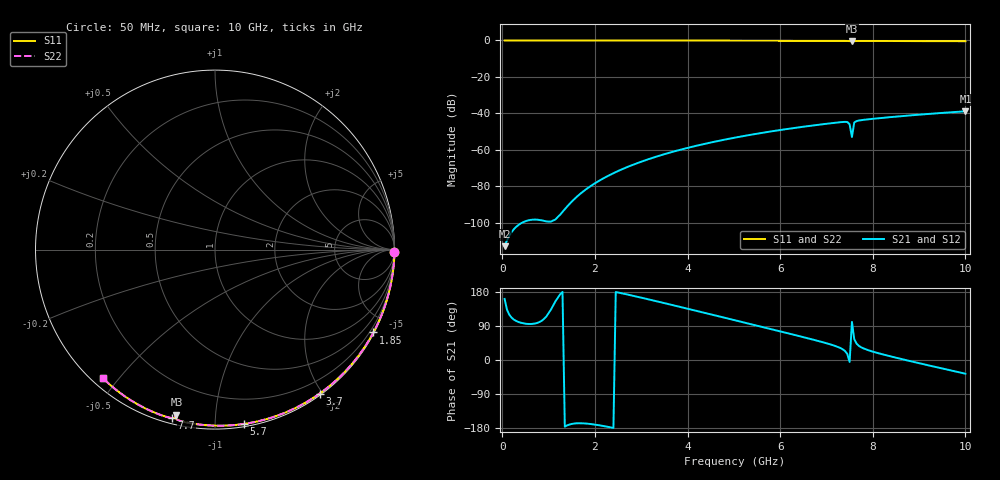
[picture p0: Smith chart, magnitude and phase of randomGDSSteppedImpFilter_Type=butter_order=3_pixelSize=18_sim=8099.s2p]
! freq	dB(S11)	phase(S11)	dB(S12)	phase(S12)
!  dB(S21)	phase(S21)	dB(S22)	phase(S22)
!S-par simulation data
#  GHz  S  DB  R 50
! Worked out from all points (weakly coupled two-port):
!   200 points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, 50 MHz to 10 GHz, reference 50 ohm
!   highest |S21| = -38.81 dB at 10 GHz (marker M1); lowest = -112.7 dB at 50 MHz (marker M2)
!   lowest |S11| = -0.5 dB at 7.55 GHz (marker M3), VSWR 34.45, Z = 2.36 - j39.6 ohm
!   |S11| at or under -10 dB: nowhere
!   |S22| runs from -0.5 to 0.0 dB; largest |S21 - S12| = 0
!   S11 on the Smith chart (normalised r, x): 50 MHz: open; 1.85 GHz: 0.04, -4.07; 3.7 GHz: 0.02, -1.96; 5.7 GHz: 0.02, -1.18; 7.7 GHz: 0.02, -0.78; 10 GHz: 0.03, -0.45
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0.05  -0.00 -0.8  -112.72 161.1  -112.72 161.1  -0.00 -0.8
0.9  -0.02 -13.6  -98.87 108.5  -98.87 108.5  -0.02 -13.6
1.75  -0.03 -26.2  -82.68 -167.2  -82.68 -167.2  -0.03 -26.2
1.85  -0.04 -27.6  -80.80 -168.1  -80.80 -168.1  -0.04 -27.6
1.9  -0.04 -28.4  -79.92 -168.8  -79.92 -168.8  -0.04 -28.4
2.25  -0.04 -33.5  -74.63 -175.7  -74.63 -175.7  -0.04 -33.5
2.65  -0.05 -39.2  -69.87 174.2  -69.87 174.2  -0.05 -39.2
3  -0.06 -44.2  -66.43 164.5  -66.43 164.5  -0.06 -44.2
3.4  -0.07 -49.8  -63.08 153.0  -63.08 153.0  -0.07 -49.8
3.7  -0.07 -54.0  -60.87 144.2  -60.87 144.2  -0.07 -54.0
4.35  -0.09 -62.8  -56.77 125.0  -56.77 125.0  -0.09 -62.8
5.05  -0.11 -72.1  -53.12 104.1  -53.12 104.1  -0.11 -72.1
5.7  -0.13 -80.5  -50.26 84.6  -50.26 84.6  -0.13 -80.5
6.7  -0.18 -93.0  -46.60 54.1  -46.60 54.1  -0.18 -93.0
7.3  -0.22 -100.5  -44.79 31.6  -44.79 31.6  -0.22 -100.5
7.45  -0.26 -102.7  -44.67 15.9  -44.67 15.9  -0.26 -102.6
7.5  -0.35 -103.5  -45.92 -5.2  -45.92 -5.2  -0.34 -103.5
7.55  -0.50 -103.1  -52.92 100.5  -52.92 100.5  -0.50 -103.3
7.6  -0.36 -102.9  -44.93 55.0  -44.93 55.0  -0.37 -102.9
7.7  -0.27 -104.4  -43.87 37.3  -43.87 37.3  -0.27 -104.4
8.35  -0.29 -112.4  -42.08 10.6  -42.08 10.6  -0.29 -112.4
10  -0.45 -131.2  -38.81 -36.1  -38.81 -36.1  -0.45 -131.2
